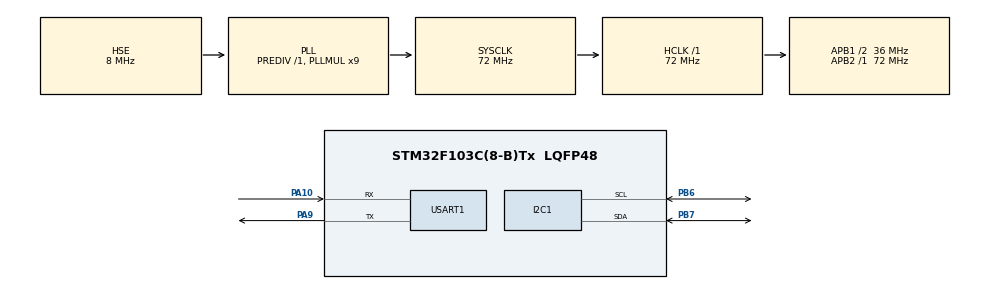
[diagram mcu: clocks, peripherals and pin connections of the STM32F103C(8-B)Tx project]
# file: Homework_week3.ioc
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Mcu.Family=STM32F1
Mcu.Name=STM32F103C(8-B)Tx
Mcu.Package=LQFP48
NVIC.PriorityGroup=NVIC_PRIORITYGROUP_4
NVIC.TIM3_IRQn=true\:0\:0\:false\:false\:true\:true\:true\:true
NVIC.USART1_IRQn=true\:0\:0\:false\:false\:true\:true\:true\:true
PA10.Mode=Asynchronous
PA10.Signal=USART1_RX
PA13.Mode=Serial_Wire
PA13.Signal=SYS_JTMS-SWDIO
PA14.Mode=Serial_Wire
PA14.Signal=SYS_JTCK-SWCLK
PA9.Mode=Asynchronous
PA9.Signal=USART1_TX
PB6.Mode=I2C
PB6.Signal=I2C1_SCL
PB7.Mode=I2C
PB7.Signal=I2C1_SDA
PD0-OSC_IN.Mode=HSE-External-Oscillator
PD0-OSC_IN.Signal=RCC_OSC_IN
PD1-OSC_OUT.Mode=HSE-External-Oscillator
PD1-OSC_OUT.Signal=RCC_OSC_OUT
ProjectManager.HeapSize=0x200
ProjectManager.StackSize=0x400
ProjectManager.TargetToolchain=Makefile
RCC.AHBFreq_Value=72000000
RCC.APB1CLKDivider=RCC_HCLK_DIV2
RCC.APB1Freq_Value=36000000
RCC.APB1TimFreq_Value=72000000
RCC.APB2Freq_Value=72000000
RCC.APB2TimFreq_Value=72000000
RCC.HCLKFreq_Value=72000000
RCC.PLLMUL=RCC_PLL_MUL9
RCC.PLLSourceVirtual=RCC_PLLSOURCE_HSE
RCC.SYSCLKFreq_VALUE=72000000
RCC.SYSCLKSource=RCC_SYSCLKSOURCE_PLLCLK
RCC.USBFreq_Value=72000000
TIM3.AutoReloadPreload=TIM_AUTORELOAD_PRELOAD_ENABLE
TIM3.Period=20000 - 1
TIM3.Prescaler=7200 - 1
USART1.VirtualMode=VM_ASYNC
VP_TIM3_VS_ClockSourceINT.Mode=Internal
board=custom

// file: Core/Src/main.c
/* USER CODE BEGIN Header */
/**
  ******************************************************************************
  * @file           : main.c
  * @brief          : Main program body
  ******************************************************************************
  * @attention
  *
  * Copyright (c) 2026 STMicroelectronics.
  * All rights reserved.
  *
  * This software is licensed under terms that can be found in the LICENSE file
  * in the root directory of this software component.
  * If no LICENSE file comes with this software, it is provided AS-IS.
  *
  ******************************************************************************
  */
/* USER CODE END Header */
#include "main.h"
#include "i2c.h"
#include "tim.h"
#include "usart.h"
#include "gpio.h"

/* USER CODE BEGIN Includes */
#include "OLED.h"
#include <math.h>
/* USER CODE END Includes */

void SystemClock_Config(void);

/* USER CODE BEGIN 0 */

uint8_t weep[4] = {0X00,0X00,0X80,0X7f};

void JustFloatTrams(float* output,int length)
{
  HAL_UART_Transmit(&huart1,(uint8_t*)output,length * 4,10);
  HAL_UART_Transmit(&huart1,weep,4,10);
}

uint8_t Receive[1] = {(uint8_t)'1'};
float Output = 0;
uint32_t SawTick;//�?毫秒�?更新，锯齿波的上�?次更新时�?
uint32_t SquTick;//方波的上�?次切换时�?
uint32_t SinTick;//sin波的上一次更新时间，5ms更新�?�?
/* USER CODE END 0 */

int main(void)
{

  /* MCU Configuration--------------------------------------------------------*/

  /* Reset of all peripherals, Initializes the Flash interface and the Systick. */
  HAL_Init();

  /* Configure the system clock */
  SystemClock_Config();

  /* Initialize all configured peripherals */
  MX_GPIO_Init();
  MX_I2C1_Init();
  MX_USART1_UART_Init();
  MX_TIM3_Init();
  /* USER CODE BEGIN 2 */
  OLED_init();
  OLED_display_on();
  OLED_operate_gram(PEN_CLEAR);
  OLED_LOGO();

  HAL_TIM_Base_Start_IT(&htim3);
  HAL_UART_Receive_IT(&huart1,Receive,1);
  float t = 0;

  SawTick = HAL_GetTick();
  SinTick = HAL_GetTick();
  /* USER CODE END 2 */

  /* Infinite loop */
  while (1)
  {

    /* USER CODE BEGIN 3 */
    switch (Receive[0])//直接判断Rec值来决定当前状�??
    {
    case '1':
    if(HAL_GetTick() - SinTick >= 5)//5ms更新一次
    {
      t += 0.01f;
      Output = 2 * sin(t * M_PI);

      SinTick = HAL_GetTick();
    }
      break;
    case '2':
    if(HAL_GetTick() - SawTick >= 5)//5ms一次更新
    {
      if(Output >= 1) Output = -1;//到峰值时降低�?
      Output += 0.02f;

      SawTick = HAL_GetTick();
    }
      break;

    case '3':
      if(HAL_GetTick() - SquTick >= 1500)
      {
        Output = -Output;
        SquTick = HAL_GetTick();
      }

      break;
    default:
      break;
    }

  //OLED_refresh_gram();
  JustFloatTrams(&Output,1);
  }
  /* USER CODE END 3 */
}

void SystemClock_Config(void)
{
  RCC_OscInitTypeDef RCC_OscInitStruct = {0};
  RCC_ClkInitTypeDef RCC_ClkInitStruct = {0};

  /** Initializes the RCC Oscillators according to the specified parameters
  * in the RCC_OscInitTypeDef structure.
  */
  RCC_OscInitStruct.OscillatorType = RCC_OSCILLATORTYPE_HSE;
  RCC_OscInitStruct.HSEState = RCC_HSE_ON;
  RCC_OscInitStruct.HSEPredivValue = RCC_HSE_PREDIV_DIV1;
  RCC_OscInitStruct.HSIState = RCC_HSI_ON;
  RCC_OscInitStruct.PLL.PLLState = RCC_PLL_ON;
  RCC_OscInitStruct.PLL.PLLSource = RCC_PLLSOURCE_HSE;
  RCC_OscInitStruct.PLL.PLLMUL = RCC_PLL_MUL9;
  if (HAL_RCC_OscConfig(&RCC_OscInitStruct) != HAL_OK)
  {
    Error_Handler();
  }

  /** Initializes the CPU, AHB and APB buses clocks
  */
  RCC_ClkInitStruct.ClockType = RCC_CLOCKTYPE_HCLK|RCC_CLOCKTYPE_SYSCLK
                              |RCC_CLOCKTYPE_PCLK1|RCC_CLOCKTYPE_PCLK2;
  RCC_ClkInitStruct.SYSCLKSource = RCC_SYSCLKSOURCE_PLLCLK;
  RCC_ClkInitStruct.AHBCLKDivider = RCC_SYSCLK_DIV1;
  RCC_ClkInitStruct.APB1CLKDivider = RCC_HCLK_DIV2;
  RCC_ClkInitStruct.APB2CLKDivider = RCC_HCLK_DIV1;

  if (HAL_RCC_ClockConfig(&RCC_ClkInitStruct, FLASH_LATENCY_2) != HAL_OK)
  {
    Error_Handler();
  }
}

/* USER CODE BEGIN 4 */
void HAL_UART_RxCpltCallback(UART_HandleTypeDef* huart)
{
  if(huart == &huart1)
  {
    Output = 0;//切换时置0;
    OLED_operate_gram(PEN_CLEAR);//收到新�?�时再刷新界面，防止界面闪烁
    if(Receive[0] == '3')
    {
      Output = -0.5f;//切换为方波时特殊处理，保证main中方波代码只处理两个可能�?
      SquTick = HAL_GetTick();
    }
    HAL_UART_Receive_IT(&huart1,Receive,1);
  }
}

void HAL_TIM_PeriodElapsedCallback(TIM_HandleTypeDef* htim)
{
  if(htim == &htim3)
  {
    OLED_operate_gram(PEN_CLEAR);
    switch(Receive[0])
    {
      case '1':
      OLED_printf(1,1,"Sine");
        break;
      case '2':
      OLED_printf(1,1,"Sawtooth");
        break;
      case '3':
      OLED_printf(1,1,"Square");
        break;
    }
    OLED_refresh_gram();
  }
}
/* USER CODE END 4 */

void Error_Handler(void)
{
  __disable_irq();
  while (1)
  {
  }
}
